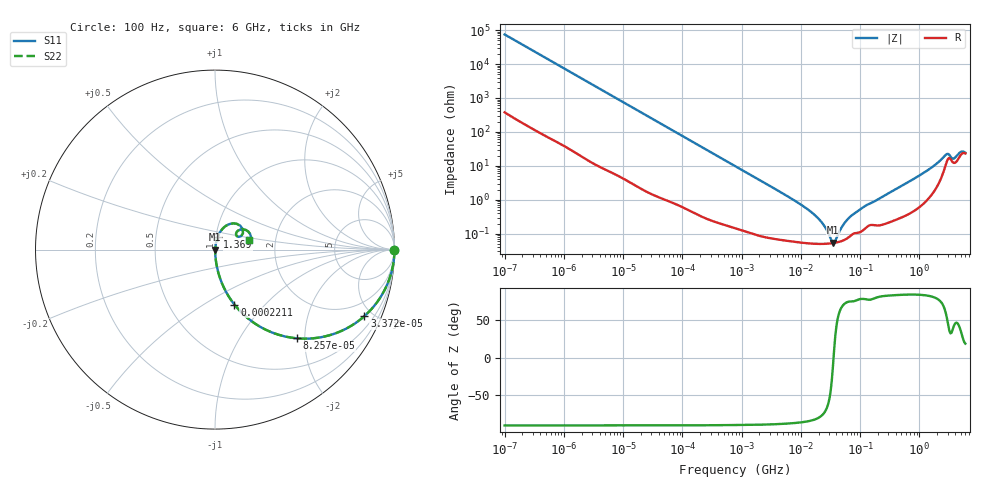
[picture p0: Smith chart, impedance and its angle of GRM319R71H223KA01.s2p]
!Murata Part Number: GRM319R71H223KA01
!These Parameters are Measured in Series Mode Connection
!Data Generated on Mar 30, 2021
!  o--ll--o
!Port1  Port2
!  o------o
!Operation Temp=25[degC], DC Bias Voltage=0[V]
!Freq. Start=100[Hz] Stop=6[GHz] 401[Steps]
# Hz S RI R 50
!Freq.(Hz) S11(Real) S11(Imag) S21(Real) S21(Imag) S12(Real) S12(Imag) S22(Real) S22(Imag)
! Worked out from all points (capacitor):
!   401 points, 100 Hz to 6 GHz, reference 50 ohm
!   read as one part in series: C = 21.4 nF near 109 Hz
!   lowest |Z| = 54 mohm at 34.83 MHz (marker M1)
!   series resonance near 35.73 MHz, so ESL is about 930 pH
!   S11 on the Smith chart (normalised r, x): 100 Hz: open; 33.72 kHz: 1.03, -4.48; 82.57 kHz: 1.01, -1.84; 221.1 kHz: 1.01, -0.69; 1.369 GHz: 1.02, +0.15; 6 GHz: 1.46, +0.16
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100  1 -0.00135  8.7e-06 0.00135  8.7e-06 0.00135  1 -0.00135
2008  0.9991 -0.0268  0.000852 0.0268  0.000852 0.0268  0.9991 -0.0268
9626  0.9832 -0.1257  0.0168 0.1257  0.0168 0.1257  0.9832 -0.1257
33721  0.8324 -0.3706  0.1676 0.3706  0.1676 0.3706  0.8324 -0.3706
40335  0.7769 -0.4132  0.2231 0.4132  0.2231 0.4132  0.7769 -0.4132
82567  0.4578 -0.4944  0.5422 0.4944  0.5422 0.4944  0.4578 -0.4944
221108  0.1083 -0.3063  0.8917 0.3063  0.8917 0.3063  0.1083 -0.3063
774597  0.0111 -0.0977  0.9889 0.0977  0.9889 0.0977  0.0111 -0.0977
6644369  0.000727 -0.0113  0.9993 0.0113  0.9993 0.0113  0.000727 -0.0113
1.555665e7  0.000526 -0.00409  0.9995 0.00409  0.9995 0.00409  0.000526 -0.00409
2.327686e7  0.000505 -0.00195  0.9995 0.00195  0.9995 0.00195  0.000505 -0.00195
3.482834e7  0.000528 -0.000112  0.9995 0.000112  0.9995 0.000112  0.000528 -0.000112
3.80911e7  0.000542 0.000285  0.9995 -0.000285  0.9995 -0.000285  0.000542 0.000285
5.211241e7  0.000637 0.00172  0.9994 -0.00172  0.9994 -0.00172  0.000637 0.00172
7.129496e7  0.00092 0.00327  0.9991 -0.00327  0.9991 -0.00327  0.00092 0.00327
1.220122e8  0.00146 0.0064  0.9985 -0.0064  0.9985 -0.0064  0.00146 0.0064
3.124326e8  0.00241 0.0159  0.9976 -0.0159  0.9976 -0.0159  0.00241 0.0159
1.369159e9  0.015 0.0708  0.985 -0.0708  0.985 -0.0708  0.015 0.0708
2.802721e9  0.1214 0.1436  0.8786 -0.1436  0.8786 -0.1436  0.1214 0.1436
3.8344e9  0.1168 0.0861  0.8832 -0.0861  0.8832 -0.0861  0.1168 0.0861
5.016141e9  0.1859 0.1002  0.8141 -0.1002  0.8141 -0.1002  0.1859 0.1002
6e9  0.1908 0.051  0.8092 -0.051  0.8092 -0.051  0.1908 0.051
